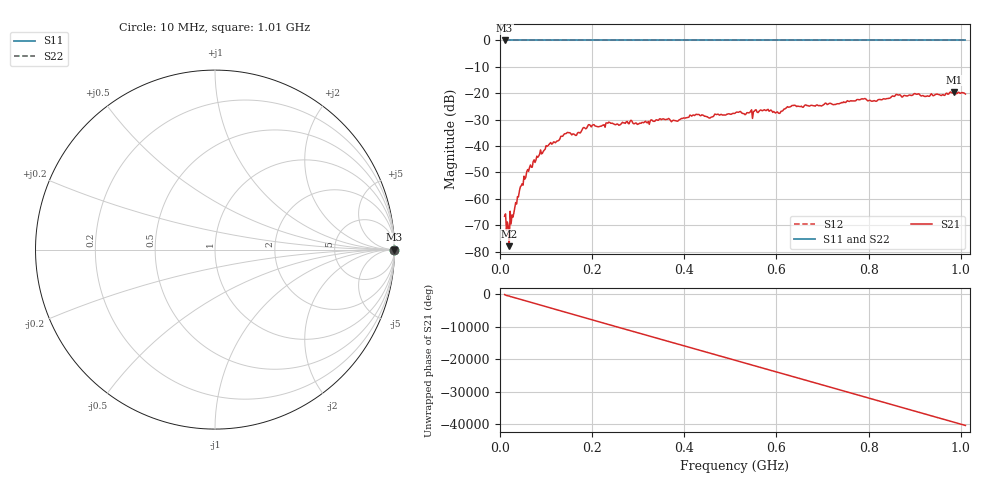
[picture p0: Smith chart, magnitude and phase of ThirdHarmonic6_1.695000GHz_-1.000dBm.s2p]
! 8/16/2025 8:22:02 PM
! C:\ANRITSUVNA\TEMP\TEMP.S2P
! CHANNEL.1
! TR.MEASUREMENT
! RAW.DATA
! RF.CORRECTION.OFF
! AVERAGING.OFF
! IF.BANDWIDTH: 5KHZ
! SWEEPTYPE:  FREQ.SWEEP(Linear)
! Reference Plane Port Info
! PORT:  PORT1  PORT2
! DISTANCE:  0  m  0  m
! TIME:  0  s  0  s
! PHASE.OFFSET:  0  deg.  0  deg.
! LOSS:  0  dB  0  dB
! REF.LOSS:  0  dB  0  dB
! REF.FREQ:  0  Hz  0  Hz
! Power Info
! POWER:  -20  dBm  -20  dBm
! EFF.POWER:  -20  dBm  -20  dBm
! SOURCE.ATTEN:  0  dB  0  dB
! TEST.ATTEN:  0  dB  0  dB
# GHZ S RI R 50.0
! FREQ.GHZ  S11RE  S11IM  S21RE  S21IM  S12RE  S12IM  S22RE  S22IM
!; PortSelection: Port_12
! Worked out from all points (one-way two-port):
!   501 points, 10 MHz to 1.01 GHz, reference 50 ohm
!   highest |S21| = -19.49 dB at 986 MHz (marker M1); lowest = -77.9 dB at 20 MHz (marker M2)
!   lowest |S11| = 0.0 dB at 10 MHz (marker M3)
!   |S11| at or under -10 dB: nowhere
!   |S22| runs from 0.0 to 0.0 dB; largest |S21 - S12| = 1.1
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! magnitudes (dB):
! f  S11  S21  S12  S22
! 10 MHz  0.0  -66.6  0.0  0.0
! 14 MHz  0.0  -71.9  0.0  0.0
! 16 MHz  0.0  -68.7  0.0  0.0
! 20 MHz  0.0  -77.9  0.0  0.0
! 24 MHz  0.0  -69.5  0.0  0.0
! 48 MHz  0.0  -54.3  0.0  0.0
! 62 MHz  0.0  -49.5  0.0  0.0
! 84 MHz  0.0  -43.8  0.0  0.0
! 142 MHz  0.0  -35.3  0.0  0.0
! 164 MHz  0.0  -36.0  0.0  0.0
! 178 MHz  0.0  -33.9  0.0  0.0
! 234 MHz  0.0  -31.3  0.0  0.0
! 302 MHz  0.0  -31.5  0.0  0.0
! 344 MHz  0.0  -30.2  0.0  0.0
! 510 MHz  0.0  -27.6  0.0  0.0
! 578 MHz  0.0  -26.6  0.0  0.0
! 604 MHz  0.0  -27.5  0.0  0.0
! 636 MHz  0.0  -24.6  0.0  0.0
! 678 MHz  0.0  -24.6  0.0  0.0
! 844 MHz  0.0  -21.9  0.0  0.0
! 986 MHz  0.0  -19.5  0.0  0.0
! 1.01 GHz  0.0  -20.3  0.0  0.0
